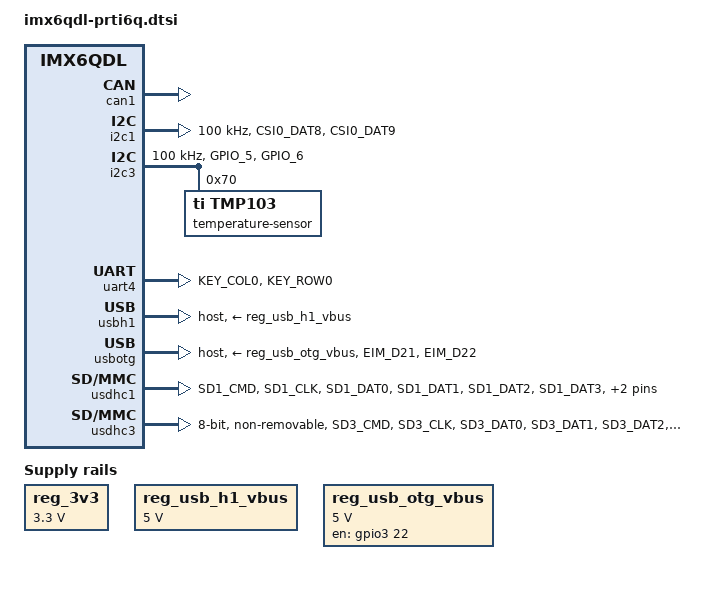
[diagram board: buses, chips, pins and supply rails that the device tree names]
// SPDX-License-Identifier: GPL-2.0-or-later OR MIT
/*
 * Copyright (c) 2014 Protonic Holland
 */

#include <dt-bindings/gpio/gpio.h>
#include <dt-bindings/input/input.h>

/ {
	chosen {
		stdout-path = &uart4;
	};

	reg_3v3: regulator-3v3 {
		compatible = "regulator-fixed";
		regulator-name = "3v3";
		regulator-min-microvolt = <3300000>;
		regulator-max-microvolt = <3300000>;
	};

	reg_usb_h1_vbus: regulator-h1-vbus {
		compatible = "regulator-fixed";
		regulator-name = "h1-vbus";
		regulator-min-microvolt = <5000000>;
		regulator-max-microvolt = <5000000>;
	};

	reg_usb_otg_vbus: regulator-otg-vbus {
		compatible = "regulator-fixed";
		regulator-name = "otg-vbus";
		regulator-min-microvolt = <5000000>;
		regulator-max-microvolt = <5000000>;
		gpio = <&gpio3 22 GPIO_ACTIVE_HIGH>;
		enable-active-high;
	};
};

&can1 {
	pinctrl-names = "default";
	status = "okay";
};

&i2c1 {
	clock-frequency = <100000>;
	pinctrl-names = "default";
	pinctrl-0 = <&pinctrl_i2c1>;
	status = "okay";
};

&i2c3 {
	clock-frequency = <100000>;
	pinctrl-names = "default";
	pinctrl-0 = <&pinctrl_i2c3>;
	status = "okay";

	temperature-sensor@70 {
		compatible = "ti,tmp103";
		reg = <0x70>;
	};
};

&uart4 {
	pinctrl-names = "default";
	pinctrl-0 = <&pinctrl_uart4>;
	status = "okay";
};

&usbh1 {
	vbus-supply = <&reg_usb_h1_vbus>;
	phy_type = "utmi";
	dr_mode = "host";
	status = "okay";
};

&usbotg {
	vbus-supply = <&reg_usb_otg_vbus>;
	pinctrl-names = "default";
	pinctrl-0 = <&pinctrl_usbotg>;
	phy_type = "utmi";
	dr_mode = "host";
	disable-over-current;
	status = "okay";
};

&usdhc1 {
	pinctrl-names = "default";
	pinctrl-0 = <&pinctrl_usdhc1>;
	cd-gpios = <&gpio1 1 GPIO_ACTIVE_LOW>;
	status = "okay";
};

&usdhc3 {
	pinctrl-names = "default";
	pinctrl-0 = <&pinctrl_usdhc3>;
	bus-width = <8>;
	non-removable;
	status = "okay";
};

&iomuxc {
	pinctrl_can1: can1grp {
		fsl,pins = <
			MX6QDL_PAD_KEY_ROW2__FLEXCAN1_RX	0x1b008
			MX6QDL_PAD_KEY_COL2__FLEXCAN1_TX	0x1b008
		>;
	};

	pinctrl_i2c1: i2c1grp {
		fsl,pins = <
			MX6QDL_PAD_CSI0_DAT8__I2C1_SDA		0x4001f8b1
			MX6QDL_PAD_CSI0_DAT9__I2C1_SCL		0x4001f8b1
		>;
	};

	pinctrl_i2c3: i2c3grp {
		fsl,pins = <
			MX6QDL_PAD_GPIO_5__I2C3_SCL		0x4001b8b1
			MX6QDL_PAD_GPIO_6__I2C3_SDA		0x4001b8b1
		>;
	};

	pinctrl_uart4: uart4grp {
		fsl,pins = <
			MX6QDL_PAD_KEY_COL0__UART4_TX_DATA	0x1b0b1
			MX6QDL_PAD_KEY_ROW0__UART4_RX_DATA	0x1b0b1
		>;
	};

	pinctrl_usdhc1: usdhc1grp {
		fsl,pins = <
			MX6QDL_PAD_SD1_CMD__SD1_CMD		0x170f9
			MX6QDL_PAD_SD1_CLK__SD1_CLK		0x100f9
			MX6QDL_PAD_SD1_DAT0__SD1_DATA0		0x170f9
			MX6QDL_PAD_SD1_DAT1__SD1_DATA1		0x170f9
			MX6QDL_PAD_SD1_DAT2__SD1_DATA2		0x170f9
			MX6QDL_PAD_SD1_DAT3__SD1_DATA3		0x170f9
			MX6QDL_PAD_GPIO_1__GPIO1_IO01		0x1b0b0
		>;
	};

	pinctrl_usdhc3: usdhc3grp {
		fsl,pins = <
			MX6QDL_PAD_SD3_CMD__SD3_CMD		0x17099
			MX6QDL_PAD_SD3_CLK__SD3_CLK		0x10099
			MX6QDL_PAD_SD3_DAT0__SD3_DATA0		0x17099
			MX6QDL_PAD_SD3_DAT1__SD3_DATA1		0x17099
			MX6QDL_PAD_SD3_DAT2__SD3_DATA2		0x17099
			MX6QDL_PAD_SD3_DAT3__SD3_DATA3		0x17099
			MX6QDL_PAD_SD3_DAT4__SD3_DATA4		0x17099
			MX6QDL_PAD_SD3_DAT5__SD3_DATA5		0x17099
			MX6QDL_PAD_SD3_DAT6__SD3_DATA6		0x17099
			MX6QDL_PAD_SD3_DAT7__SD3_DATA7		0x17099
			MX6QDL_PAD_SD3_RST__SD3_RESET		0x1b0b1
		>;
	};

	pinctrl_usbotg: usbotggrp {
		fsl,pins = <
			MX6QDL_PAD_EIM_D21__USB_OTG_OC	0x1b0b0
			MX6QDL_PAD_EIM_D22__GPIO3_IO22	0x1b0b0
		>;
	};
};
